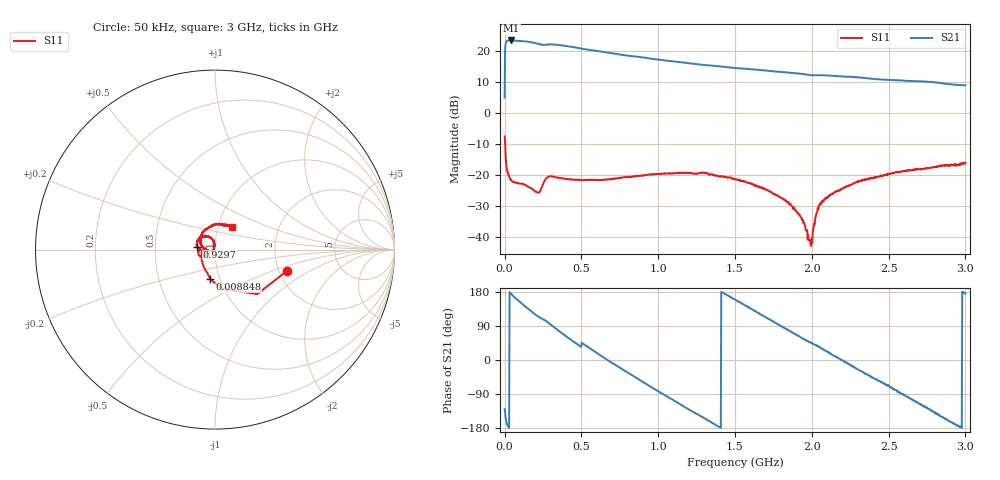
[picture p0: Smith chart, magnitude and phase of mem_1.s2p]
! NanoVNA-App
! Date: 2025-03-07 15:44:28
! Start: 50kHz Stop: 3.0001GHz Points: 1024
! S-Parameter data: F S11 S21 S12 S22
# Hz S RI R 50
!  Frequency  S11_Real  S11_Imag  S21_Real  S21_Imag  S12_Real  S12_Imag  S22_Real  S22_Imag
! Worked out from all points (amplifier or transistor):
!   1024 points, 50 kHz to 3 GHz, reference 50 ohm
!   highest |S21| = 23.4 dB at 44.04 MHz (marker M1)
!   |S21| within 3 dB of that: 3.475 MHz to 548.3 MHz (544.8 MHz wide, 197 % of centre)
!   S11 on the Smith chart (normalised r, x): 50 kHz: 2.23, -0.63; 8.848 MHz: 0.90, -0.30; 929.7 MHz: 0.82, +0.03; 3 GHz: 1.17, +0.31
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50000  0.4035 -0.1169  -1.133 -1.37  0 0  0 0
8847654  -0.0269 -0.1646  -12.63 -5.011  0 0  0 0
2.057786e7  -0.0659 -0.0868  -14.54 -1.668  0 0  0 0
4.403827e7  -0.0743 -0.0372  -14.66 1.627  0 0  0 0
1.056218e8  -0.0722 -0.00897  -12.61 7.012  0 0  0 0
1.642729e8  -0.0631 -0.00476  -9.19 10.38  0 0  0 0
2.903726e8  -0.0907 -0.029  -1.495 12.69  0 0  0 0
4.135397e8  -0.0861 -0.000654  6.149 10.13  0 0  0 0
4.83921e8  -0.084 0.000954  8.679 6.958  0 0  0 0
5.015163e8  -0.0832 0.000823  7.611 7.749  0 0  0 0
6.891996e8  -0.0868 0.00238  9.217 -0.7995  0 0  0 0
8.152993e8  -0.0933 0.00641  6.688 -4.97  0 0  0 0
9.296688e8  -0.1 0.0169  3.242 -6.95  0 0  0 0
1.00005e9  -0.1009 0.025  0.9214 -7.187  0 0  0 0
1.246384e9  -0.0904 0.0559  -4.767 -3.875  0 0  0 0
1.501516e9  -0.0448 0.0733  -4.965 1.889  0 0  0 0
1.741985e9  -0.0106 0.0504  -1.089 4.597  0 0  0 0
2.00005e9  -0.00947 0.000543  2.899 2.832  0 0  0 0
2.231722e9  -0.0655 0.011  3.8 -0.6189  0 0  0 0
2.501516e9  -0.0786 0.0676  1.216 -3.206  0 0  0 0
2.791839e9  -0.0193 0.1328  -2.271 -2.158  0 0  0 0
3.00005e9  0.0946 0.1283  -2.807 0.2357  0 0  0 0
